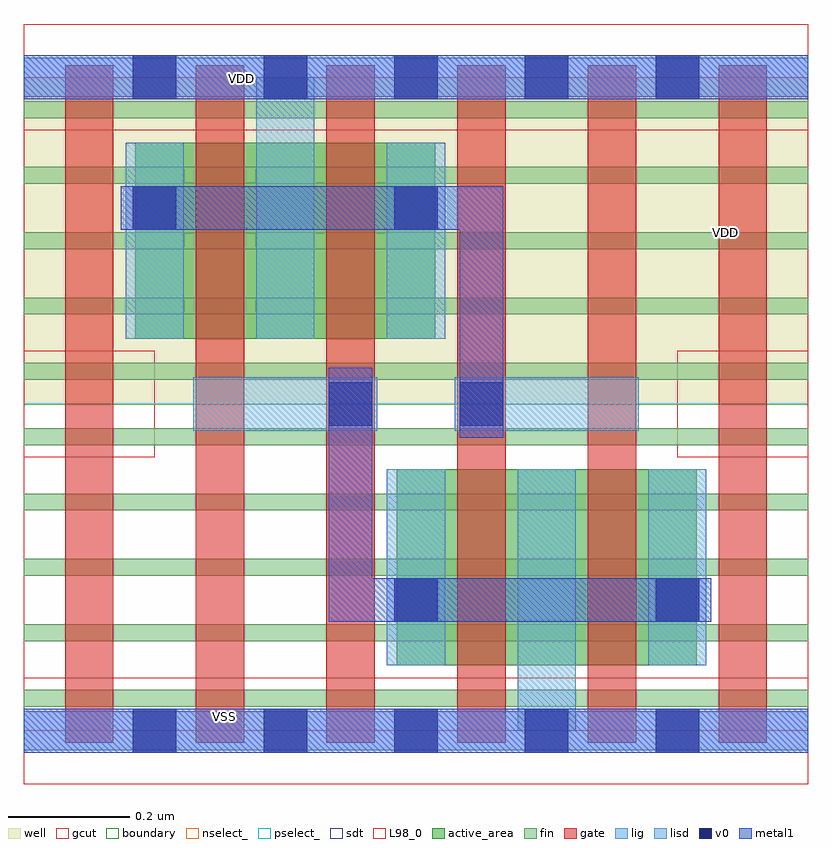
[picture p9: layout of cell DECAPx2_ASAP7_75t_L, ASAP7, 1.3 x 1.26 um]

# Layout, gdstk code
import gdstk
lib = gdstk.Library(unit=1e-6, precision=2.5e-10)
def R(c, l, rs):  # rectangles x0, y0, x1, y1
    for r in rs: c.add(gdstk.rectangle(r[:2], r[2:], *l))
def A(c, l, x, y, w, h, nx, ny, dx, dy):  # array of equal rectangles
    R(c, l, [(x+i*dx, y+j*dy, x+i*dx+w, y+j*dy+h) for i in range(nx) for j in range(ny)])
def P(c, l, *ps):  # polygons
    for p in ps: c.add(gdstk.Polygon(p, *l))
well = (1, 0)
fin = (2, 0)
gate = (7, 0)
gcut = (10, 0)
active_area = (11, 0)
nselect_ = (12, 0)
pselect_ = (13, 0)
lig = (16, 0)
lisd = (17, 0)
v0 = (18, 0)
metal1 = (19, 0)
sdt = (88, 0)
L98_0 = (98, 0)
boundary = (100, 0)

decapx2_asap7_75t_l = lib.new_cell('DECAPx2_ASAP7_75t_L')
R(decapx2_asap7_75t_l, well, [(0,0.54,1.296,1.08)])
A(decapx2_asap7_75t_l, fin, 0, 0.04, 1.296, 0.028, 1, 10, 0, 0.108)
A(decapx2_asap7_75t_l, gate, 0.068, -0.02, 0.08, 1.12, 6, 1, 0.216, 0)
R(decapx2_asap7_75t_l, gcut, [(0,-0.088,1.296,0.088), (0,0.452,0.216,0.628), (1.08,0.452,1.296,0.628), (0,0.992,1.296,1.168)])
R(decapx2_asap7_75t_l, active_area, [(0.616,0.108,1.112,0.432), (0.184,0.648,0.68,0.972)])
R(decapx2_asap7_75t_l, nselect_, [(0,0,1.296,0.54)])
R(decapx2_asap7_75t_l, pselect_, [(0,0.54,1.296,1.08)])
R(decapx2_asap7_75t_l, lig, [(0,-0.032,1.296,0.032), (0.28,0.496,0.584,0.584), (0.712,0.496,1.016,0.584), (0,1.048,1.296,1.112)])
R(decapx2_asap7_75t_l, lisd, [(0.816,0,0.912,0.432), (0.6,0.108,0.696,0.432), (1.032,0.108,1.128,0.432), (0.168,0.648,0.264,0.972), (0.384,0.648,0.48,1.08), (0.6,0.648,0.696,0.972)])
A(decapx2_asap7_75t_l, v0, 0.18, -0.036, 0.072, 0.072, 5, 2, 0.216, 1.08)
R(decapx2_asap7_75t_l, v0, [(0.612,0.18,0.684,0.252), (1.044,0.18,1.116,0.252), (0.504,0.504,0.576,0.576), (0.72,0.504,0.792,0.576), (0.18,0.828,0.252,0.9), (0.612,0.828,0.684,0.9)])
R(decapx2_asap7_75t_l, metal1, [(0,-0.036,1.296,0.036), (0,1.044,1.296,1.116)])
P(decapx2_asap7_75t_l, metal1, [(1.136,0.252),(0.576,0.252),(0.576,0.6),(0.504,0.6),(0.504,0.18),(1.136,0.18)],
  [(0.792,0.9),(0.16,0.9),(0.16,0.828),(0.72,0.828),(0.72,0.484),(0.792,0.484)])
A(decapx2_asap7_75t_l, sdt, 0.6, 0.108, 0.096, 0.324, 3, 1, 0.216, 0)
A(decapx2_asap7_75t_l, sdt, 0.168, 0.648, 0.096, 0.324, 3, 1, 0.216, 0)
R(decapx2_asap7_75t_l, L98_0, [(0,0,1.296,1.08)])
R(decapx2_asap7_75t_l, boundary, [(0,0,1.296,1.08)])
decapx2_asap7_75t_l.add(gdstk.Label('VDD', (1.16,0.824), layer=1, texttype=251))
decapx2_asap7_75t_l.add(gdstk.Label('VDD', (0.36,1.078), layer=19, texttype=251))
decapx2_asap7_75t_l.add(gdstk.Label('VSS', (0.332,0.024), layer=19, texttype=251))
decapx2_asap7_75t_l.add(gdstk.Label('VSS', (1.412,0.828), layer=3, texttype=251))

lib.write_gds('DECAPx2_ASAP7_75t_L.gds')
